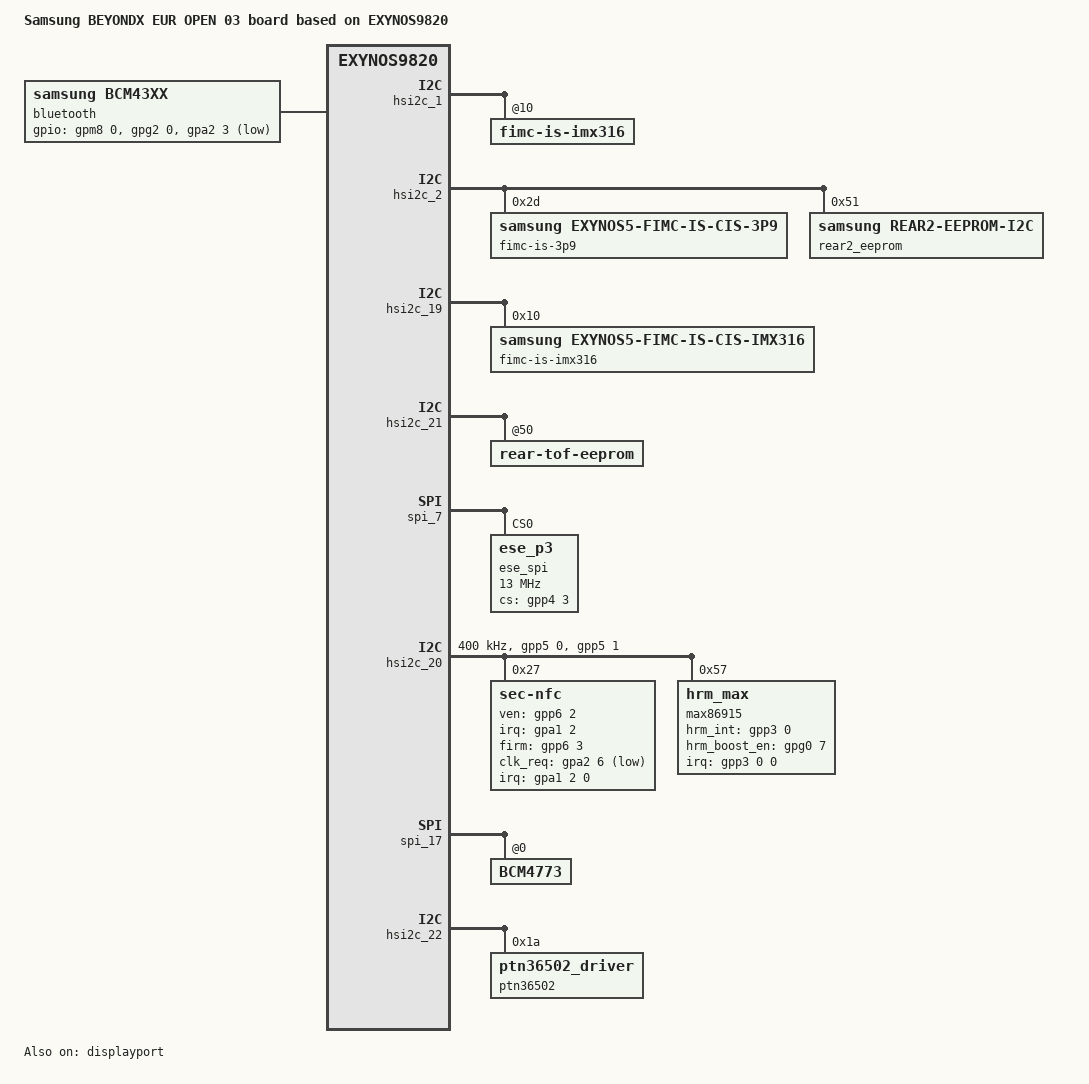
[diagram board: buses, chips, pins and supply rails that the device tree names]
/*
 * SAMSUNG EXYNOS9820 board device tree source
 *
 * Copyright (c) 2018 Samsung Electronics Co., Ltd.
 *		http://www.samsung.com
 *
 * This program is free software; you can redistribute it and/or modify
 * it under the terms of the GNU General Public License version 2 as
 * published by the Free Software Foundation.
*/

/dts-v1/;
/plugin/;
#include "exynos9820-sensorhub.dtsi"
#include "exynos9820-display-lcd.dtsi"
#include "battery_data_beyondxlte_03.dtsi"
#include "exynos9820-beyondx_motor.dtsi"
#include "exynos9820-beyondx_if-pmic-max77705.dtsi"
#include <dt-bindings/clock/exynos9820.h>
#include <dt-bindings/pci/pci.h>
#include "exynos9820-beyondx_camera.dtsi"
#include "exynos9820-beyondx_common.dtsi"
#include "exynos9820-beyondx_fingerprint_03.dtsi"
#include "exynos9820-beyondx_eur_open_gpio_00.dtsi"
#include "exynos9820-beyondlte_kor-tdmb-19.dtsi"
#include "exynos9820-beyondx_optics-r00.dtsi"

/ {
	compatible = "samsung,BEYONDX EUR OPEN 03", "samsung,EXYNOS9820";
	dtbo-hw_rev = <3>;
   	dtbo-hw_rev_end = <3>;

	fragment@model {
		target-path = "/";
		__overlay__ {
			#address-cells = <2>;
			#size-cells = <1>;

			model = "Samsung BEYONDX EUR OPEN 03 board based on EXYNOS9820";
			pinctrl@15850000 {
				bt_hostwake: bt-hostwake {
					samsung,pins = "gpa2-3";
					samsung,pin-function = <0>;
					samsung,pin-pud = <1>;
				};
			};
			pinctrl@10430000 {
				bt_btwake: bt-btwake {
					samsung,pins = "gpg2-0";
					samsung,pin-function = <1>;
					samsung,pin-pud = <0>;
					samsung,pin-con-pdn = <3>;
					samsung,pin-pud-pdn = <0>;
				};
			};
			pinctrl@15C30000 {
				bt_en: bt-en {
					samsung,pins = "gpm8-0";
					samsung,pin-function = <1>;
					samsung,pin-pud = <0>;
					samsung,pin-con-pdn = <3>;
					samsung,pin-pud-pdn = <0>;
				};

				s5100_ap2cp_wakeup: s5100_ap2cp_wakeup {
					samsung,pins = "gpm17-0";
					samsung,pin-con-pdn = <3>;
					samsung,pin-pud = <1>;
				};
			};
			bluetooth {
				compatible = "samsung,bcm43xx";
				gpios = <&gpm8 0 0   /*BT_EN*/
				&gpg2 0 0    /*BT_WAKE*/
				&gpa2 3 0xF    /*BT_HOST_WAKE*/ >;
				pinctrl-names = "default";
				pinctrl-0=<&bt_hostwake &bt_btwake &bt_en>;
				status = "okay";
			};
		}; /* end of __overlay__ */
	}; /* end of fragment */

	fragment@camera {
		target-path = "/";
		__overlay__ {
			fimc_is_sensor_3m3: fimc-is_sensor_3m3@5A {
				power_seq_id = <2>;
			};
		}; 
	};
}; /* end of root */

/* PERIC1 CAM1 */
&hsi2c_1 {
	/delete-node/ fimc-is-3p9@2D;
	/delete-node/ rear2_eeprom@51;
	/delete-node/ front-tof-eeprom@51;
	fimc-is-imx316@10 { /* rear tof */
		id = <3>; /* matching fimc_is_sensor id */
	};
}; 

/* PERIC1 CAM2 */
&hsi2c_2 {
	fimc-is-3p9@2D {
		compatible = "samsung,exynos5-fimc-is-cis-3p9";
		reg = <0x2D>; /* 1 bit right shift */
		id = <4>; /* matching fimc_is_sensor id */
		setfile = "setA";
		status = "okay";
	};

	rear2_eeprom@51 { /* Ultra wide eeprom */
		compatible = "samsung,rear2-eeprom-i2c";
		reg = <0x51>;

		rom_power_position = <4>;
		rom_size = <0x4000>;
		cal_map_es_version = <10>;
		camera_module_es_version = "A";
		/*skip_cal_loading;*/

		/* Beyond_Rear_Cal_Map_V010_20180709_for_ALL */
		/* 0 header */
		header_crc_check_list = <0x0000 0x00FB 0x00FC>;
		/* 0 master LSC */
		/* 1 master all */
		crc_check_list = <0x0100 0x1AFB 0x1AFC
							0x2200 0x22DF 0x22FC>;

		/* Master */
		rom_header_version_start_addr = <0x40>;
		rom_header_cal_data_start_addr = <0x100>;

		rom_header_cal_map_ver_start_addr = <0x50>;
		rom_header_isp_setfile_ver_start_addr = <0x54>;
		rom_header_project_name_start_addr = <0x5E>;

		rom_header_module_id_addr = <0xAE>; /* 0xA8 + reserved bytes */
		rom_header_sensor_id_addr = <0xB8>;

		rom_header_mtf_data_addr = <0x66>;

		rom_awb_master_addr = <0x2200>;
		rom_awb_module_addr = <0x2224>;
	};
}; 

/* USI07_USI_I2C */
&hsi2c_19 {
	fimc-is-imx316@10 { /* front tof */
		compatible = "samsung,exynos5-fimc-is-cis-imx316";
		reg = <0x10>; /* 1 bit right shift */
		id = <5>; /* matching fimc_is_sensor id */
		setfile = "setA";
		status = "okay";
	};
}; 

/* USI08_USI_I2C */
&hsi2c_21 {
	fimc-is-imx316@10 { /* rear tof */
		status = "disabled";
	};
	
	rear-tof-eeprom@50 {
		rom_size = <0x7FF>;
		skip_header_loading; 
		skip_crc_check; 
	}; 
}; 

&pinctrl_6 {
	spi7_bus_suspend: spi7-bus-suspend {
		samsung,pins = "gpp4-2", "gpp4-1", "gpp4-0";
		samsung,pin-function = <0>;	/* INPUT */
		samsung,pin-pud = <1>;		/* DOWN */
		samsung,pin-drv = <0>;
	};
	spi7_cs_suspend: spi7-cs-suspend {
		samsung,pins = "gpp4-3";
		samsung,pin-function = <0>;	/* INPUT */
		samsung,pin-pud = <1>;		/* DOWN */
		samsung,pin-drv = <0>;
	};
};

/* SPI USI_PERIC1_USI06_SPI */
&spi_7 {
	status = "okay";
	/delete-property/ pinctrl-names;
	/delete-property/ pinctrl-0;
	pinctrl-names = "ese_active", "ese_suspend";
	pinctrl-0 = <&spi7_bus &spi7_cs>;
	pinctrl-1 = <&spi7_bus_suspend &spi7_cs_suspend>;

	ese_spi@0 {
		compatible = "ese_p3";
		reg = <0>;
		spi-max-frequency = <13000000>;
		gpio-controller;
		#gpio-cells = <2>;

		p3-vdd-1p8= "VDD_ESE_1P8";

		clocks = <&clock GATE_USI06_USI>, <&clock DOUT_CLK_PERIC1_USI06_USI>;
		clock-names = "pclk", "sclk";
		ese_p3,cs-gpio = <&gpp4 3 0>;

		controller-data {
			samsung,spi-feedback-delay = <0>;
			samsung,spi-chip-select-mode = <0>;
		};
	};
};

&pinctrl_6 {
	nfc_en: nfc-en {
		samsung,pins = "gpp6-2";
		samsung,pin-function = <1>;
		samsung,pin-pud = <0>;
		samsung,pin-con-pdn = <3>;
		samsung,pin-pud-pdn = <0>;
		};

	nfc_firm: nfc-firm {
		samsung,pins = "gpp6-3";
		samsung,pin-function = <1>;
		samsung,pin-pud = <0>;
		samsung,pin-con-pdn = <3>;
		samsung,pin-pud-pdn = <0>;
		};
};

&hsi2c_20 {
	gpios = <&gpp5 0 0 &gpp5 1 0>;
	status = "okay";
	clock-frequency = <400000>;

	sec-nfc@27 {
		compatible = "sec-nfc";
		reg = <0x27>;

		interrupts = <2 0 0>;
		interrupt-parent = <&gpa1>;
		pinctrl-names = "default";
		pinctrl-0 = <&nfc_en &nfc_firm>;

		sec-nfc,ven-gpio = <&gpp6 2 0>;
		sec-nfc,irq-gpio = <&gpa1 2 0>;
		sec-nfc,firm-gpio = <&gpp6 3 0>;
		sec-nfc,clk_req-gpio = <&gpa2 6 0xf>;
		sec-nfc,clk_use = <2>;
		sec-nfc,nfc_pvdd = "VDD_NFC_1P8";

		clocks = <&clock OSC_NFC>;
		clock-names = "oscclk_nfc";
		sec-nfc,nfc_ap_clk;
		sec-nfc,ldo_control;
	};

	max86915@57 {
		compatible = "hrm_max";
		reg = <0x57>;
		interrupt-parent = <&gpp3>;
		interrupts = <0 0 0>;
		pinctrl-names = "default", "sleep", "idle";
		pinctrl-0 = <&hrm_irq &hrm_en>;
		pinctrl-1 = <&hrm_irqsleep &hrm_ensleep>;
		pinctrl-2 = <&hrm_irqidle &hrm_enidle>;
		hrmsensor,hrm_int-gpio = <&gpp3 0 0>;
		hrmsensor,hrm_boost_en-gpio = <&gpg0 7 0>;
		hrmsensor,vdd_1p8 = "S2MPB02_LDO8";
		hrmsensor,i2c_1p8 = "VDD_NFC_1P8";
		hrmsensor,thd = <100000 100000>;
		hrmsensor,init_curr = <0x46 0x41 0x28 0x3c>;
	};
};

&pinctrl_5 {
	hrm_irq: hrm-irq {
		samsung,pins = "gpp3-0";
		samsung,pin-function = <0xf>;
		samsung,pin-pud = <0>;
		samsung,pin-drv = <3>;
	};

	hrm_irqsleep: hrm-irqsleep {
		samsung,pins = "gpp3-0";
		samsung,pin-con-pdn = <2>;
		samsung,pin-pud-pdn = <0>;
	};

	hrm_irqidle: hrm-irqidle {
		samsung,pins = "gpp3-0";
		samsung,pin-function = <0xf>;
		samsung,pin-pud = <0>;
		samsung,pin-drv = <3>;
	};

	hrm_en: hrm-en {
		samsung,pins = "gpg0-7";
		samsung,pin-function = <0>;
		samsung,pin-pud = <1>;
		samsung,pin-drv = <2>;
	};

	hrm_ensleep: hrm-ensleep {
		samsung,pins = "gpg0-7";
		samsung,pin-con-pdn = <2>;
		samsung,pin-pud-pdn = <1>;
	};

	hrm_enidle: hrm-enidle {
		samsung,pins = "gpg0-7";
		samsung,pin-function = <0>;
		samsung,pin-pud = <1>;
		samsung,pin-drv = <2>;
	};
};

&spi_17 {
	BCM4773@0 {
		ssp-acc-position = <4>;
		ssp-mag-position = <4>;
		ssp-mag-array = /bits/ 8 <216 82 110 20 16 123 255 209 211 54 70 37 180 8 0 147 255 113 132 121
					190 252 250 15 9 40 180>;
		ssp-thermi-up = /bits/ 16 <3257 3328 3188 3140 3082 3005 2917 2805 2689 2552 2406 2248 2075 1915 
					1744 1574 1422 1275 1131 988 874 763 664>;
		ssp-thermi-sub = /bits/ 16 <4095 4095 4095 4046 3842 3599 3346 3067 2782 2495 2217 1953 1710 1489
					1288 1111 962 826 712 601 521 451 383>;
	};
};

&displayport {
	status = "okay";
	dp,usb_con_sel = <&gpg0 4 0>;
};

&hsi2c_22 {
	status = "okay";
	ptn36502@1a {
		compatible = "ptn36502_driver";
		reg = <0x1a>;
		combo,con_sel = <&gpg0 4 0x0>;
	};
};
